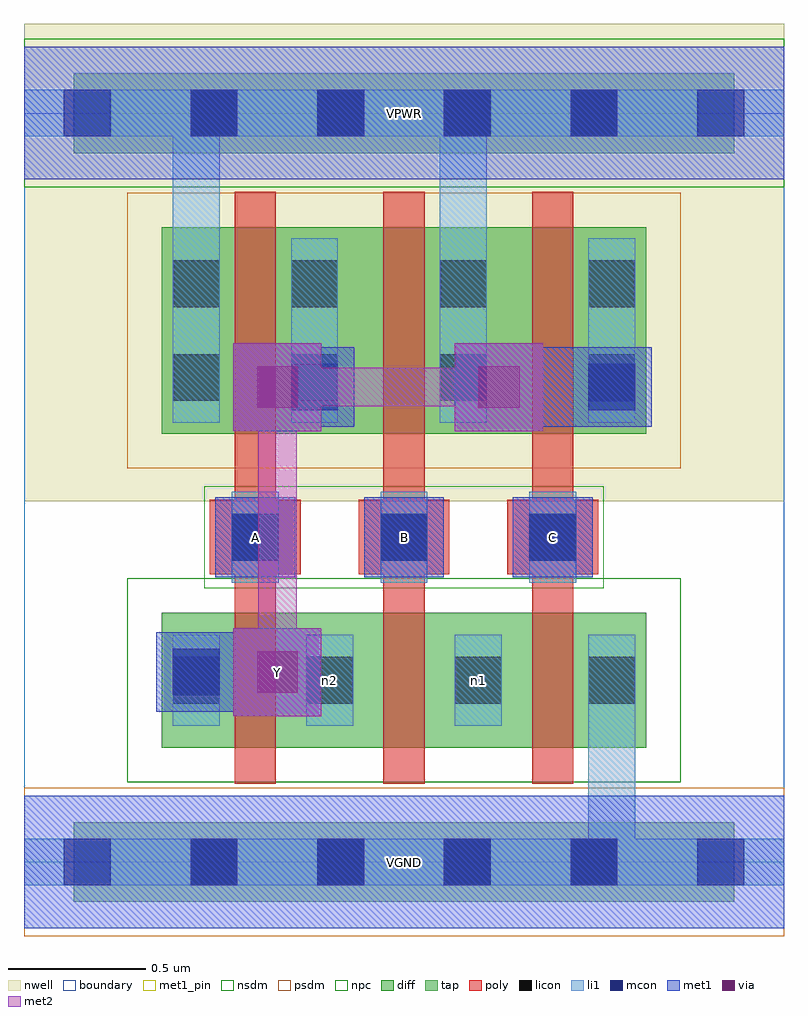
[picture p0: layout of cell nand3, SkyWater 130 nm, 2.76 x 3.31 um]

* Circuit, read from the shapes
.subckt nand3 A B C VGND VPWR Y n1 n2
XM1 n2 A Y VGND sky130_fd_pr__nfet_01v8 w=0.49 l=0.15
XM2 n1 B n2 VGND sky130_fd_pr__nfet_01v8 w=0.49 l=0.15
XM3 VGND C n1 VGND sky130_fd_pr__nfet_01v8 w=0.49 l=0.15
XM4 Y A VPWR VPWR sky130_fd_pr__pfet_01v8 w=0.75 l=0.15
XM5 VPWR B Y VPWR sky130_fd_pr__pfet_01v8 w=0.75 l=0.15
XM6 Y C VPWR VPWR sky130_fd_pr__pfet_01v8 w=0.75 l=0.15
.ends

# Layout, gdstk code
import gdstk
lib = gdstk.Library(unit=1e-6, precision=1e-09)
def R(c, l, rs):  # rectangles x0, y0, x1, y1
    for r in rs: c.add(gdstk.rectangle(r[:2], r[2:], *l))
def A(c, l, x, y, w, h, nx, ny, dx, dy):  # array of equal rectangles
    R(c, l, [(x+i*dx, y+j*dy, x+i*dx+w, y+j*dy+h) for i in range(nx) for j in range(ny)])
nwell = (64, 20)
diff = (65, 20)
tap = (65, 44)
poly = (66, 20)
licon = (66, 44)
li1 = (67, 20)
mcon = (67, 44)
met1_pin = (68, 16)
met1 = (68, 20)
via = (68, 44)
met2 = (69, 20)
nsdm = (93, 44)
psdm = (94, 20)
npc = (95, 20)
boundary = (235, 4)

nand3 = lib.new_cell('nand3')
R(nand3, nwell, [(0,1.31,2.76,3.045)])
R(nand3, diff, [(0.5,0.415,2.26,0.905), (0.5,1.555,2.26,2.305)])
R(nand3, tap, [(0.18,-0.145,2.58,0.145), (0.18,2.575,2.58,2.865)])
A(nand3, poly, 0.765, 0.285, 0.15, 2.15, 3, 1, 0.54, 0)
A(nand3, poly, 0.675, 1.045, 0.33, 0.27, 3, 1, 0.54, 0)
A(nand3, licon, 0.605, -0.085, 0.17, 0.17, 4, 2, 0.46, 2.72)
A(nand3, licon, 0.755, 1.095, 0.17, 0.17, 3, 1, 0.54, 0)
A(nand3, licon, 0.97, 1.675, 0.17, 0.17, 3, 2, 0.54, 0.34)
R(nand3, licon, [(0.54,0.575,0.71,0.745), (1.025,0.575,1.195,0.745), (1.565,0.575,1.735,0.745), (2.05,0.575,2.22,0.745), (0.54,1.675,0.71,1.845), (0.54,2.015,0.71,2.185)])
A(nand3, li1, 0.755, 1.015, 0.17, 0.33, 3, 1, 0.54, 0)
A(nand3, li1, 0.97, 1.595, 0.17, 0.67, 3, 1, 0.54, 0)
R(nand3, li1, [(0,-0.085,2.76,0.085), (2.05,-0.085,2.22,0.825), (0.54,0.495,0.71,0.825), (1.025,0.495,1.195,0.825), (1.565,0.495,1.735,0.825), (2.05,0.495,2.22,0.825), (0.54,1.595,0.71,2.265), (0.54,1.595,0.71,2.805), (1.51,1.595,1.68,2.805), (0,2.635,2.76,2.805)])
A(nand3, mcon, 0.145, -0.085, 0.17, 0.17, 6, 2, 0.46, 2.72)
A(nand3, mcon, 0.755, 1.095, 0.17, 0.17, 3, 1, 0.54, 0)
R(nand3, mcon, [(0.54,0.605,0.71,0.775), (0.97,1.64,1.14,1.81), (2.05,1.64,2.22,1.81)])
A(nand3, met1_pin, 0.695, 1.035, 0.29, 0.29, 3, 1, 0.54, 0)
R(nand3, met1_pin, [(0,-0.24,2.76,0.24), (0.76,0.53,1.08,0.85), (0,2.48,2.76,2.96)])
A(nand3, met1, 0.695, 1.035, 0.29, 0.29, 3, 1, 0.54, 0)
R(nand3, met1, [(0,-0.24,2.76,0.24), (0.76,0.53,1.08,0.85), (0.48,0.545,0.77,0.835), (0.555,0.62,0.875,0.76), (0.735,0.62,0.99,0.76), (0.76,1.565,1.08,1.885), (1.565,1.565,1.885,1.885), (0.91,1.58,1.2,1.87), (1.885,1.58,1.99,1.87), (1.99,1.58,2.28,1.87), (0.85,1.655,1.125,1.795), (1.655,1.655,2.025,1.795), (1.885,1.655,2.205,1.795), (0,2.48,2.76,2.96)])
R(nand3, via, [(0.845,0.615,0.995,0.765), (0.845,1.65,0.995,1.8), (1.65,1.65,1.8,1.8)])
R(nand3, met2, [(0.76,0.53,1.08,0.85), (0.85,0.62,0.99,1.795), (0.76,1.565,1.08,1.885), (1.565,1.565,1.885,1.885), (0.85,1.655,1.795,1.795)])
R(nand3, nsdm, [(0.375,0.29,2.385,1.03), (0,2.45,2.76,2.99)])
R(nand3, psdm, [(0,-0.27,2.76,0.27), (0.375,1.43,2.385,2.43)])
R(nand3, npc, [(0.655,0.995,2.105,1.365)])
R(nand3, boundary, [(0,0,2.76,2.72)])
nand3.add(gdstk.Label('n2', (1.11,0.66), layer=67, texttype=5))
nand3.add(gdstk.Label('n1', (1.65,0.66), layer=67, texttype=5))
nand3.add(gdstk.Label('Y', (0.92,0.69), layer=68, texttype=5))
nand3.add(gdstk.Label('A', (0.84,1.18), layer=68, texttype=5))
nand3.add(gdstk.Label('B', (1.38,1.18), layer=68, texttype=5))
nand3.add(gdstk.Label('C', (1.92,1.18), layer=68, texttype=5))
nand3.add(gdstk.Label('VPWR', (1.38,2.72), layer=68, texttype=5))
nand3.add(gdstk.Label('VGND', (1.38,0), layer=68, texttype=5))
nand3.add(gdstk.Label('Y', (0.92,0.69), layer=68, texttype=16))
nand3.add(gdstk.Label('A', (0.84,1.18), layer=68, texttype=16))
nand3.add(gdstk.Label('B', (1.38,1.18), layer=68, texttype=16))
nand3.add(gdstk.Label('C', (1.92,1.18), layer=68, texttype=16))
nand3.add(gdstk.Label('VPWR', (1.38,2.72), layer=68, texttype=16))
nand3.add(gdstk.Label('VGND', (1.38,0), layer=68, texttype=16))

lib.write_gds('nand3.gds')
